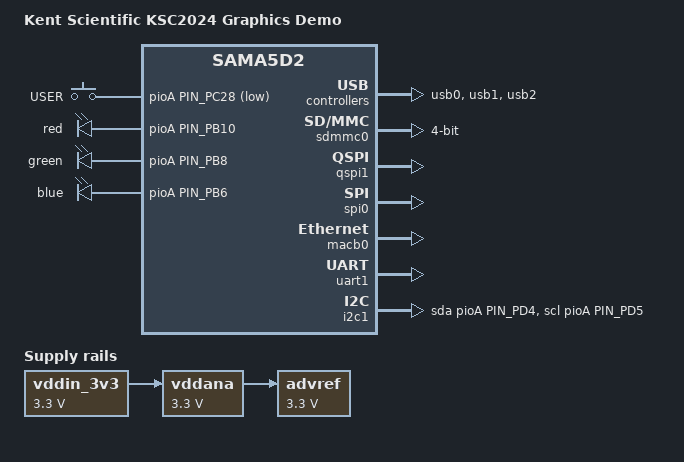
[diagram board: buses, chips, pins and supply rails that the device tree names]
// SPDX-License-Identifier: (GPL-2.0+ OR MIT)
/*
 * kent_gfxdemo.dts - Device Tree file for Kent Scientific KSC2024 Graphics Demo
 *
 *  Copyright (c) 2017, Microchip Technology Inc.
 *                2016 Nicolas Ferre <nicolas.ferre@atmel.com>
 *                2017 Cristian Birsan <cristian.birsan@microchip.com>
 *                2017 Claudiu Beznea <claudiu.beznea@microchip.com>
 *  Copyright (C) 2023 Innovative Electronics, LLC
 *                     Sam Birch <sbirch@innovative-electronics.com>
 */
/dts-v1/;
#include "at91-sama5d27_som1.dtsi"
#include <dt-bindings/mfd/atmel-flexcom.h>
#include <dt-bindings/gpio/gpio.h>
#include <dt-bindings/input/input.h>

/ {
	model = "Kent Scientific KSC2024 Graphics Demo";
	compatible = "atmel,kent-gfxdemo", "atmel,sama5d27-som1", "atmel,sama5d27", "atmel,sama5d2", "atmel,sama5";

	aliases {
		serial0 = &uart1;	/* DBGU */
	};

	chosen {
		stdout-path = "serial0:115200n8";
	};

	ahb {
		usb0: gadget@300000 {
			atmel,vbus-gpio = <&pioA PIN_PD20 GPIO_ACTIVE_HIGH>;
			pinctrl-names = "default";
			pinctrl-0 = <&pinctrl_usba_vbus>;
			status = "okay";
		};

		usb1: ohci@400000 {
			num-ports = <3>;
			/* On the Atmel reference design, PA27 is USBB_PWR_EN. On our board,
			 * that signal doesn't seem to be routed to any pin on the chip, so
			 * this is commented out. */
			//atmel,vbus-gpio = <0 /* &pioA PIN_PD20 GPIO_ACTIVE_HIGH */
			//		   &pioA PIN_PA27 GPIO_ACTIVE_HIGH
			//		   0
			//		  >;
			pinctrl-names = "default";
			pinctrl-0 = <&pinctrl_usb_default>;
			status = "okay";
		};

		usb2: ehci@500000 {
			status = "okay";
		};

		sdmmc0: sdio-host@a0000000 {
			bus-width = <4>;
			mmc-ddr-3_3v; // onsite removes this
			pinctrl-names = "default";
			pinctrl-0 = <&pinctrl_sdmmc0_default>;
			status = "okay";
			//non-removable; // onsite adds these
			//disable-wp;    // onsite adds these
			//no-1-8-v;      // onsite adds these
		};

		apb {
			qspi1: spi@f0024000 {
				status = "okay";
			};

			spi0: spi@f8000000 {
				pinctrl-names = "default";
				pinctrl-0 = <&pinctrl_spi0_default>;
				status = "okay";
			};

			macb0: ethernet@f8008000 {
				status = "okay";
			};

			tcb0: timer@f800c000 {
				timer0: timer@0 {
					compatible = "atmel,tcb-timer";
					reg = <0>;
				};

				timer1: timer@1 {
					compatible = "atmel,tcb-timer";
					reg = <1>;
				};
			};

			uart1: serial@f8020000 {
				pinctrl-names = "default";
				pinctrl-0 = <&pinctrl_uart1_default>;
				atmel,use-dma-rx;
				atmel,use-dma-tx;
				status = "okay";
			};

			shdwc@f8048010 {
				debounce-delay-us = <976>;
				atmel,wakeup-rtc-timer;

				input@0 {
					reg = <0>;
				};
			};

			watchdog@f8048040 {
				status = "okay";
			};

			i2c1: i2c@fc028000 {
				dmas = <0>, <0>;
				i2c-analog-filter;
				i2c-digital-filter;
				i2c-digital-filter-width-ns = <35>;
				pinctrl-names = "default", "gpio";
				pinctrl-0 = <&pinctrl_i2c1_default>;
				pinctrl-1 = <&pinctrl_i2c1_gpio>;
				sda-gpios = <&pioA PIN_PD4 GPIO_ACTIVE_HIGH>;
				scl-gpios = <&pioA PIN_PD5 (GPIO_ACTIVE_HIGH | GPIO_OPEN_DRAIN)>;
				status = "okay";
			};

			pinctrl@fc038000 {

				pinctrl_i2c1_default: i2c1_default {
					pinmux = <PIN_PD4__TWD1>,
						 <PIN_PD5__TWCK1>;
					bias-disable;
				};

				pinctrl_i2c1_gpio: i2c1_gpio {
                                        pinmux = <PIN_PD4__GPIO>,
                                                 <PIN_PD5__GPIO>;
                                        bias-disable;
                                };


				pinctrl_key_gpio_default: key_gpio_default {
					pinmux = <PIN_PC28__GPIO>;
					bias-pull-up;
				};

				pinctrl_led_gpio_default: led_gpio_default {
					pinmux = <PIN_PB10__GPIO>,
						 <PIN_PB8__GPIO>,
						 <PIN_PB6__GPIO>;
					bias-pull-up;
				};

				pinctrl_sdmmc0_default: sdmmc0_default {
					cmd_data {
						pinmux = <PIN_PA1__SDMMC0_CMD>,
							 <PIN_PA2__SDMMC0_DAT0>,
							 <PIN_PA3__SDMMC0_DAT1>,
							 <PIN_PA4__SDMMC0_DAT2>,
							 <PIN_PA5__SDMMC0_DAT3>;
						bias-disable;
					};

					ck_cd_vddsel {
						pinmux = <PIN_PA0__SDMMC0_CK>;
						bias-disable;
					};
				};

				pinctrl_spi0_default: spi0_default {
					pinmux = <PIN_PA14__SPI0_SPCK>,
						 <PIN_PA15__SPI0_MOSI>,
						 <PIN_PA16__SPI0_MISO>,
						 <PIN_PA17__SPI0_NPCS0>;
					bias-disable;
				};

				pinctrl_uart1_default: uart1_default {
					pinmux = <PIN_PD2__URXD1>,
						 <PIN_PD3__UTXD1>;
					bias-disable;
				};

				pinctrl_usb_default: usb_default {
					pinmux = <PIN_PD19__GPIO>;
					bias-disable;
				};

				pinctrl_usba_vbus: usba_vbus {
					pinmux = <PIN_PD20__GPIO>;
					bias-disable;
				};
			};
		};
	};

	gpio-keys {
		compatible = "gpio-keys";

		pinctrl-names = "default";
		pinctrl-0 = <&pinctrl_key_gpio_default>;

		button {
			label = "USER";
			gpios = <&pioA PIN_PC28 GPIO_ACTIVE_LOW>;
			linux,code = <KEY_PROG1>;
			wakeup-source;
		};
	};

	leds {
		compatible = "gpio-leds";
		pinctrl-names = "default";
		pinctrl-0 = <&pinctrl_led_gpio_default>;
		status = "okay"; /* Conflict with pwm0. */

		red {
			label = "red";
			gpios = <&pioA PIN_PB10 GPIO_ACTIVE_HIGH>;
		};

		green {
			label = "green";
			gpios = <&pioA PIN_PB8 GPIO_ACTIVE_HIGH>;
		};

		blue {
			label = "blue";
			gpios = <&pioA PIN_PB6 GPIO_ACTIVE_HIGH>;
			linux,default-trigger = "heartbeat";
		};
	};

	vddin_3v3: fixed-regulator-vddin_3v3 {
		compatible = "regulator-fixed";

		regulator-name = "VDDIN_3V3";
		regulator-min-microvolt = <3300000>;
		regulator-max-microvolt = <3300000>;
		regulator-always-on;
		regulator-boot-on;
		status = "okay";
	};

	vddana: fixed-regulator-vddana {
		compatible = "regulator-fixed";

		regulator-name = "VDDANA";
		regulator-min-microvolt = <3300000>;
		regulator-max-microvolt = <3300000>;
		regulator-always-on;
		regulator-boot-on;
		vin-supply = <&vddin_3v3>;
		status = "okay";
	};

	advref: fixed-regulator-advref {
		compatible = "regulator-fixed";

		regulator-name = "advref";
		regulator-min-microvolt = <3300000>;
		regulator-max-microvolt = <3300000>;
		regulator-always-on;
		regulator-boot-on;
		vin-supply = <&vddana>;
		status = "okay";
	};
};
